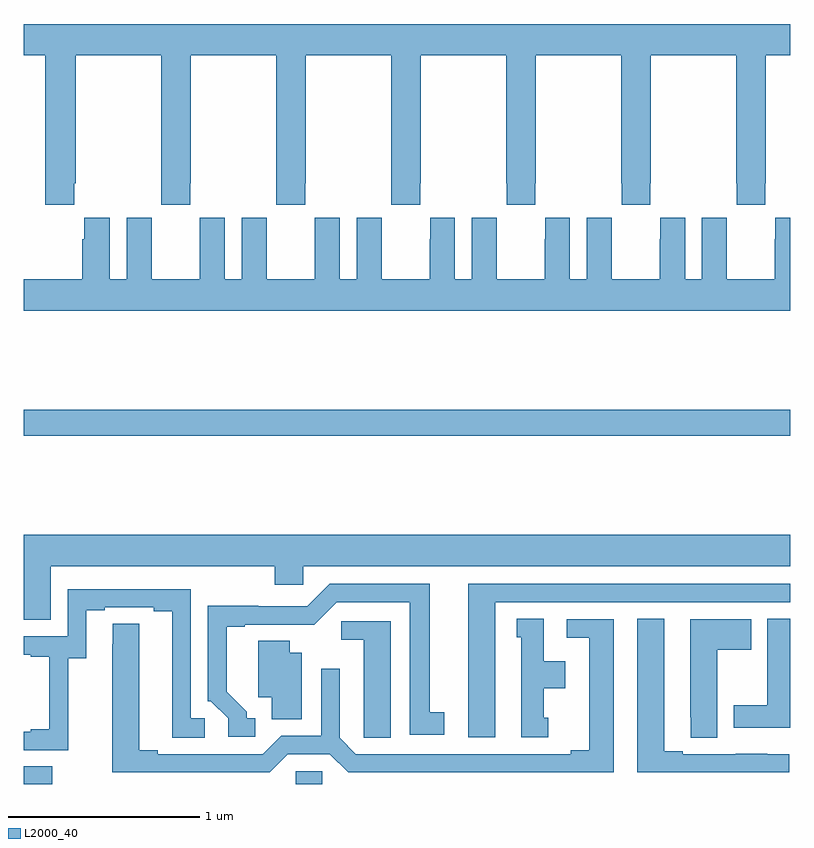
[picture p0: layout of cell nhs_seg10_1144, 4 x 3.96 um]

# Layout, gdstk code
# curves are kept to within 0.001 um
import gdstk
lib = gdstk.Library(unit=1e-6, precision=1e-09)
def R(c, l, rs):  # rectangles x0, y0, x1, y1
    for r in rs: c.add(gdstk.rectangle(r[:2], r[2:], *l))
def P(c, l, *ps):  # polygons
    for p in ps: c.add(gdstk.Polygon(p, *l))
L2000_40 = (2000, 40)

nhs_seg10_1144 = lib.new_cell('nhs_seg10_1144')
R(nhs_seg10_1144, L2000_40, [(169,1312.5,169.149,1312.592), (170.421,1312.5,170.559,1312.566), (169,1314.316,173,1314.452)])
P(nhs_seg10_1144, L2000_40, [(169,1316.3),(169.112,1316.3),(169.112,1315.521),(169.265,1315.521),(169.265,1315.633),(169.272,1315.633),(169.272,1316.3),(169.717,1316.3),(169.717,1315.633),(169.719,1315.633),(169.719,1315.521),(169.869,1315.521),(169.869,1315.633),(169.872,1315.633),(169.872,1316.3),(170.317,1316.3),(170.317,1315.633),(170.319,1315.633),(170.319,1315.521),(170.469,1315.521),(170.469,1315.633),(170.472,1315.633),(170.472,1316.3),(170.917,1316.3),(170.917,1315.633),(170.919,1315.633),(170.919,1315.521),(171.069,1315.521),(171.069,1315.633),(171.072,1315.633),(171.072,1316.3),(171.517,1316.3),(171.517,1315.633),(171.519,1315.633),(171.519,1315.521),(171.669,1315.521),(171.669,1315.633),(171.672,1315.633),(171.672,1316.3),(172.117,1316.3),(172.117,1315.633),(172.119,1315.633),(172.119,1315.521),(172.269,1315.521),(172.269,1315.633),(172.272,1315.633),(172.272,1316.3),(172.717,1316.3),(172.717,1315.633),(172.719,1315.633),(172.719,1315.521),(172.869,1315.521),(172.869,1315.633),(172.872,1315.633),(172.872,1316.3),(173,1316.3),(173,1316.464),(169,1316.464)],
  [(172.068,1315.34),(172.068,1315.453),(171.938,1315.453),(171.938,1315.132),(171.85,1315.132),(171.85,1315.453),(171.72,1315.453),(171.72,1315.34),(171.719,1315.34),(171.719,1315.132),(171.469,1315.132),(171.469,1315.34),(171.468,1315.34),(171.468,1315.453),(171.338,1315.453),(171.338,1315.132),(171.25,1315.132),(171.25,1315.453),(171.12,1315.453),(171.12,1315.34),(171.119,1315.34),(171.119,1315.132),(170.869,1315.132),(170.869,1315.34),(170.868,1315.34),(170.868,1315.453),(170.738,1315.453),(170.738,1315.132),(170.65,1315.132),(170.65,1315.453),(170.52,1315.453),(170.52,1315.34),(170.519,1315.34),(170.519,1315.132),(170.269,1315.132),(170.269,1315.34),(170.268,1315.34),(170.268,1315.453),(170.138,1315.453),(170.138,1315.132),(170.05,1315.132),(170.05,1315.453),(169.92,1315.453),(169.92,1315.34),(169.919,1315.34),(169.919,1315.132),(169.669,1315.132),(169.669,1315.34),(169.668,1315.34),(169.668,1315.453),(169.538,1315.453),(169.538,1315.132),(169.45,1315.132),(169.45,1315.453),(169.316,1315.453),(169.316,1315.34),(169.307,1315.34),(169.307,1315.132),(169,1315.132),(169,1314.968),(173,1314.968),(173,1315.453),(172.92,1315.453),(172.92,1315.34),(172.919,1315.34),(172.919,1315.132),(172.669,1315.132),(172.669,1315.34),(172.668,1315.34),(172.668,1315.453),(172.538,1315.453),(172.538,1315.132),(172.45,1315.132),(172.45,1315.453),(172.32,1315.453),(172.32,1315.34),(172.319,1315.34),(172.319,1315.132),(172.069,1315.132),(172.069,1315.34)],
  [(169,1313.356),(169.141,1313.356),(169.141,1313.636),(170.309,1313.636),(170.309,1313.538),(170.46,1313.538),(170.46,1313.636),(173,1313.636),(173,1313.8),(169,1313.8)],
  [(171.46,1313.448),(173,1313.448),(173,1313.544),(171.32,1313.544),(171.32,1312.743),(171.46,1312.743)],
  [(170.209,1312.842),(170.164,1312.842),(170.164,1312.877),(170.059,1312.982),(170.059,1313.319),(170.155,1313.319),(170.155,1313.331),(170.516,1313.33),(170.634,1313.448),(171.014,1313.448),(171.014,1312.758),(171.193,1312.758),(171.193,1312.874),(171.118,1312.874),(171.118,1313.544),(170.598,1313.544),(170.481,1313.427),(170.225,1313.427),(170.225,1313.429),(169.962,1313.429),(169.962,1312.932),(169.977,1312.932),(170.067,1312.842),(170.067,1312.746),(170.209,1312.746)],
  [(169.233,1313.155),(169.327,1313.155),(169.327,1313.406),(169.423,1313.406),(169.423,1313.421),(169.679,1313.421),(169.679,1313.401),(169.775,1313.401),(169.775,1312.741),(169.945,1312.741),(169.945,1312.842),(169.872,1312.842),(169.872,1313.517),(169.23,1313.517),(169.23,1313.271),(169,1313.271),(169,1313.175),(169.037,1313.175),(169.037,1313.163),(169.133,1313.163),(169.133,1312.786),(169.037,1312.786),(169.037,1312.773),(169,1312.773),(169,1312.677),(169.233,1312.677)],
  [(172.993,1312.656),(172.88,1312.656),(172.88,1312.657),(172.714,1312.657),(172.714,1312.656),(172.438,1312.656),(172.438,1312.671),(172.342,1312.671),(172.342,1313.363),(172.202,1313.363),(172.202,1312.56),(172.993,1312.56)],
  [(173,1313.363),(172.88,1313.363),(172.88,1312.911),(172.703,1312.911),(172.703,1312.794),(173,1312.794)],
  [(171.736,1312.845),(171.712,1312.845),(171.712,1313),(171.826,1313),(171.826,1313.14),(171.712,1313.14),(171.712,1313.363),(171.572,1313.363),(171.572,1313.265),(171.596,1313.265),(171.596,1312.743),(171.736,1312.743)],
  [(172.618,1313.2),(172.795,1313.2),(172.795,1313.359),(172.478,1313.359),(172.478,1312.849),(172.479,1312.849),(172.479,1312.741),(172.618,1312.741)],
  [(170.379,1312.656),(170.597,1312.656),(170.693,1312.56),(172.078,1312.56),(172.078,1313.358),(171.834,1313.358),(171.834,1313.262),(171.95,1313.262),(171.95,1312.676),(171.854,1312.676),(171.854,1312.656),(170.733,1312.656),(170.649,1312.74),(170.649,1313.101),(170.553,1313.101),(170.553,1312.752),(170.343,1312.752),(170.247,1312.656),(169.699,1312.656),(169.699,1312.676),(169.603,1312.676),(169.603,1313.336),(169.464,1313.336),(169.463,1312.56),(170.283,1312.56)],
  [(170.914,1313.349),(170.658,1313.349),(170.658,1313.252),(170.774,1313.252),(170.774,1312.849),(170.775,1312.849),(170.775,1312.741),(170.914,1312.741)],
  [(170.452,1313.185),(170.389,1313.185),(170.389,1313.246),(170.225,1313.246),(170.225,1312.952),(170.294,1312.952),(170.294,1312.837),(170.452,1312.837)])

lib.write_gds('nhs_seg10_1144.gds')
